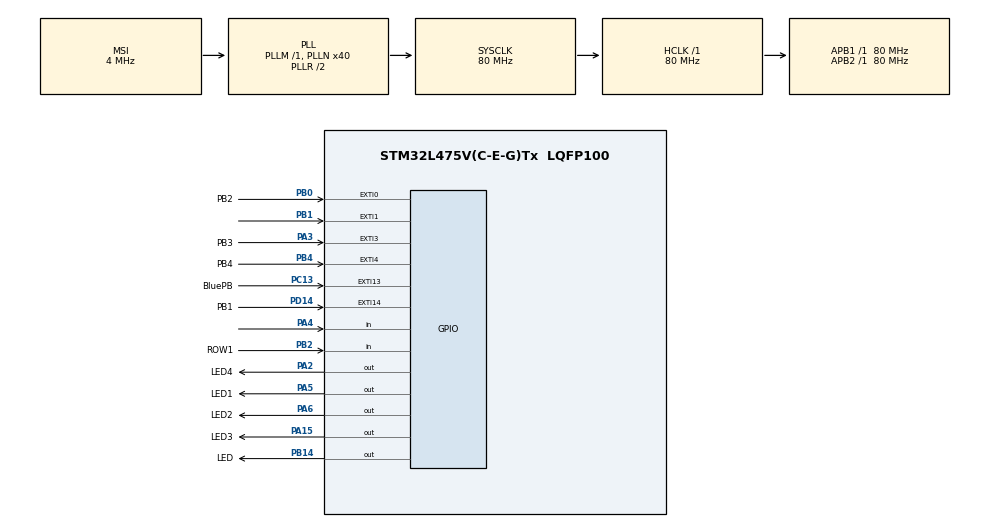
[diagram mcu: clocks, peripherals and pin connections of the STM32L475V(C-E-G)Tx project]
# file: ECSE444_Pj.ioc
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Mcu.Family=STM32L4
Mcu.Name=STM32L475V(C-E-G)Tx
Mcu.Package=LQFP100
NVIC.EXTI15_10_IRQn=true\:0\:0\:false\:false\:true\:true\:true
NVIC.PriorityGroup=NVIC_PRIORITYGROUP_4
NVIC.TIM1_TRG_COM_TIM17_IRQn=true\:15\:0\:false\:false\:true\:false\:true
NVIC.TIM2_IRQn=true\:0\:0\:false\:false\:true\:true\:true
NVIC.TimeBase=TIM1_TRG_COM_TIM17_IRQn
NVIC.TimeBaseIP=TIM17
PA13\ (JTMS-SWDIO).Signal=SYS_JTMS-SWDIO
PA15\ (JTDI).GPIO_Label=LED3
PA15\ (JTDI).Signal=GPIO_Output
PA2.GPIO_Label=LED4
PA2.Signal=GPIO_Output
PA3.GPIO_Label=PB3
PA3.Signal=GPXTI3
PA4.Signal=GPIO_Input
PA5.GPIO_Label=LED1
PA5.Signal=GPIO_Output
PA6.GPIO_Label=LED2
PA6.Signal=GPIO_Output
PB0.GPIO_Label=PB2
PB0.Signal=GPXTI0
PB1.Signal=GPXTI1
PB14.GPIO_Label=LED
PB14.Signal=GPIO_Output
PB2.GPIO_Label=ROW1
PB2.Signal=GPIO_Input
PB3\ (JTDO-TRACESWO).Signal=SYS_JTDO-SWO
PB4\ (NJTRST).GPIO_Label=PB4
PB4\ (NJTRST).Signal=GPXTI4
PC13.GPIO_Label=BluePB
PC13.Signal=GPXTI13
PD14.GPIO_Label=PB1
PD14.Signal=GPXTI14
ProjectManager.HeapSize=0x200
ProjectManager.StackSize=0x400
ProjectManager.TargetToolchain=STM32CubeIDE
RCC.ADCFreq_Value=48000000
RCC.AHBFreq_Value=80000000
RCC.APB1Freq_Value=80000000
RCC.APB1TimFreq_Value=80000000
RCC.APB2Freq_Value=80000000
RCC.APB2TimFreq_Value=80000000
RCC.CortexFreq_Value=80000000
RCC.HCLKFreq_Value=80000000
RCC.HSE_VALUE=8000000
RCC.HSI_VALUE=16000000
RCC.MSI_VALUE=4000000
RCC.PLLN=40
RCC.PLLSAI1N=24
RCC.SYSCLKFreq_VALUE=80000000
RCC.SYSCLKSource=RCC_SYSCLKSOURCE_PLLCLK
RCC.USBFreq_Value=48000000
RCC.VCOOutputFreq_Value=160000000
TIM2.Period=1814
TIM2.TIM_MasterOutputTrigger=TIM_TRGO_UPDATE
VP_SYS_VS_tim17.Mode=TIM17
VP_TIM2_VS_ClockSourceINT.Mode=Internal
board=B-L475E-IOT01A1

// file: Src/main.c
/* USER CODE BEGIN Header */
/**
  ******************************************************************************
  * @file           : main.c
  * @brief          : Main program body
  ******************************************************************************
  * @attention
  *
  * <h2><center>&copy; Copyright (c) 2021 STMicroelectronics.
  * All rights reserved.</center></h2>
  *
  * This software component is licensed by ST under BSD 3-Clause license,
  * the "License"; You may not use this file except in compliance with the
  * License. You may obtain a copy of the License at:
  *                        opensource.org/licenses/BSD-3-Clause
  *
  ******************************************************************************
  */
/* USER CODE END Header */
#include "main.h"

TIM_HandleTypeDef htim2;

void SystemClock_Config(void);
static void MX_GPIO_Init(void);
static void MX_TIM2_Init(void);

int main(void)
{

  /* MCU Configuration--------------------------------------------------------*/

  /* Reset of all peripherals, Initializes the Flash interface and the Systick. */
  HAL_Init();

  /* Configure the system clock */
  SystemClock_Config();

  /* Initialize all configured peripherals */
  MX_GPIO_Init();
  MX_TIM2_Init();
  /* USER CODE BEGIN 2 */
  HAL_TIM_Base_Start_IT(&htim2);
  /* USER CODE END 2 */

  /* Infinite loop */
  while (1)
  {

    /* USER CODE BEGIN 3 */

	  if( HAL_GPIO_ReadPin(PB1_GPIO_Port, PB1_Pin)==1){
	 		  HAL_GPIO_WritePin(LED1_GPIO_Port,LED1_Pin,GPIO_PIN_SET);
	 		  HAL_Delay(500);
	 		 HAL_GPIO_WritePin(LED1_GPIO_Port,LED1_Pin,GPIO_PIN_RESET);
	 	  }
	  else if( HAL_GPIO_ReadPin(PB2_GPIO_Port, PB2_Pin)==1){
		  HAL_GPIO_WritePin(LED2_GPIO_Port,LED2_Pin,GPIO_PIN_SET);
		 HAL_Delay(500);
		 HAL_GPIO_WritePin(LED2_GPIO_Port,LED2_Pin,GPIO_PIN_RESET);
	  }
	  else if( HAL_GPIO_ReadPin(PB3_GPIO_Port, PB3_Pin)==1){
		  HAL_GPIO_WritePin(LED3_GPIO_Port,LED3_Pin,GPIO_PIN_SET);
		 	 		  HAL_Delay(500);
		 	 		 HAL_GPIO_WritePin(LED3_GPIO_Port,LED3_Pin,GPIO_PIN_RESET);
	  }
	  else if( HAL_GPIO_ReadPin(PB4_GPIO_Port, PB4_Pin)==1){
		  HAL_GPIO_WritePin(LED4_GPIO_Port,LED4_Pin,GPIO_PIN_SET);
		 	 		  HAL_Delay(500);
		 	 		 HAL_GPIO_WritePin(LED4_GPIO_Port,LED4_Pin,GPIO_PIN_RESET);
	  }
	  else{
		  HAL_GPIO_WritePin(LED_GPIO_Port,LED_Pin,GPIO_PIN_RESET);

	  }
  }
  /* USER CODE END 3 */
}

void SystemClock_Config(void)
{
  RCC_OscInitTypeDef RCC_OscInitStruct = {0};
  RCC_ClkInitTypeDef RCC_ClkInitStruct = {0};

  /** Configure the main internal regulator output voltage
  */
  if (HAL_PWREx_ControlVoltageScaling(PWR_REGULATOR_VOLTAGE_SCALE1) != HAL_OK)
  {
    Error_Handler();
  }
  /** Initializes the RCC Oscillators according to the specified parameters
  * in the RCC_OscInitTypeDef structure.
  */
  RCC_OscInitStruct.OscillatorType = RCC_OSCILLATORTYPE_MSI;
  RCC_OscInitStruct.MSIState = RCC_MSI_ON;
  RCC_OscInitStruct.MSICalibrationValue = 0;
  RCC_OscInitStruct.MSIClockRange = RCC_MSIRANGE_6;
  RCC_OscInitStruct.PLL.PLLState = RCC_PLL_ON;
  RCC_OscInitStruct.PLL.PLLSource = RCC_PLLSOURCE_MSI;
  RCC_OscInitStruct.PLL.PLLM = 1;
  RCC_OscInitStruct.PLL.PLLN = 40;
  RCC_OscInitStruct.PLL.PLLP = RCC_PLLP_DIV7;
  RCC_OscInitStruct.PLL.PLLQ = RCC_PLLQ_DIV2;
  RCC_OscInitStruct.PLL.PLLR = RCC_PLLR_DIV2;
  if (HAL_RCC_OscConfig(&RCC_OscInitStruct) != HAL_OK)
  {
    Error_Handler();
  }
  /** Initializes the CPU, AHB and APB buses clocks
  */
  RCC_ClkInitStruct.ClockType = RCC_CLOCKTYPE_HCLK|RCC_CLOCKTYPE_SYSCLK
                              |RCC_CLOCKTYPE_PCLK1|RCC_CLOCKTYPE_PCLK2;
  RCC_ClkInitStruct.SYSCLKSource = RCC_SYSCLKSOURCE_PLLCLK;
  RCC_ClkInitStruct.AHBCLKDivider = RCC_SYSCLK_DIV1;
  RCC_ClkInitStruct.APB1CLKDivider = RCC_HCLK_DIV1;
  RCC_ClkInitStruct.APB2CLKDivider = RCC_HCLK_DIV1;

  if (HAL_RCC_ClockConfig(&RCC_ClkInitStruct, FLASH_LATENCY_4) != HAL_OK)
  {
    Error_Handler();
  }
}

static void MX_TIM2_Init(void)
{

  TIM_ClockConfigTypeDef sClockSourceConfig = {0};
  TIM_MasterConfigTypeDef sMasterConfig = {0};

  htim2.Instance = TIM2;
  htim2.Init.Prescaler = 0;
  htim2.Init.CounterMode = TIM_COUNTERMODE_UP;
  htim2.Init.Period = 1814;
  htim2.Init.ClockDivision = TIM_CLOCKDIVISION_DIV1;
  htim2.Init.AutoReloadPreload = TIM_AUTORELOAD_PRELOAD_DISABLE;
  if (HAL_TIM_Base_Init(&htim2) != HAL_OK)
  {
    Error_Handler();
  }
  sClockSourceConfig.ClockSource = TIM_CLOCKSOURCE_INTERNAL;
  if (HAL_TIM_ConfigClockSource(&htim2, &sClockSourceConfig) != HAL_OK)
  {
    Error_Handler();
  }
  sMasterConfig.MasterOutputTrigger = TIM_TRGO_UPDATE;
  sMasterConfig.MasterSlaveMode = TIM_MASTERSLAVEMODE_DISABLE;
  if (HAL_TIMEx_MasterConfigSynchronization(&htim2, &sMasterConfig) != HAL_OK)
  {
    Error_Handler();
  }

}

static void MX_GPIO_Init(void)
{
  GPIO_InitTypeDef GPIO_InitStruct = {0};

  /* GPIO Ports Clock Enable */
  __HAL_RCC_GPIOC_CLK_ENABLE();
  __HAL_RCC_GPIOA_CLK_ENABLE();
  __HAL_RCC_GPIOB_CLK_ENABLE();
  __HAL_RCC_GPIOD_CLK_ENABLE();

  /*Configure GPIO pin Output Level */
  HAL_GPIO_WritePin(GPIOA, LED4_Pin|LED1_Pin|LED2_Pin|LED3_Pin, GPIO_PIN_RESET);

  /*Configure GPIO pin Output Level */
  HAL_GPIO_WritePin(LED_GPIO_Port, LED_Pin, GPIO_PIN_RESET);

  /*Configure GPIO pin : BluePB_Pin */
  GPIO_InitStruct.Pin = BluePB_Pin;
  GPIO_InitStruct.Mode = GPIO_MODE_IT_RISING;
  GPIO_InitStruct.Pull = GPIO_NOPULL;
  HAL_GPIO_Init(BluePB_GPIO_Port, &GPIO_InitStruct);

  /*Configure GPIO pins : LED4_Pin LED1_Pin LED2_Pin LED3_Pin */
  GPIO_InitStruct.Pin = LED4_Pin|LED1_Pin|LED2_Pin|LED3_Pin;
  GPIO_InitStruct.Mode = GPIO_MODE_OUTPUT_PP;
  GPIO_InitStruct.Pull = GPIO_NOPULL;
  GPIO_InitStruct.Speed = GPIO_SPEED_FREQ_LOW;
  HAL_GPIO_Init(GPIOA, &GPIO_InitStruct);

  /*Configure GPIO pin : PB3_Pin */
  GPIO_InitStruct.Pin = PB3_Pin;
  GPIO_InitStruct.Mode = GPIO_MODE_IT_RISING;
  GPIO_InitStruct.Pull = GPIO_NOPULL;
  HAL_GPIO_Init(PB3_GPIO_Port, &GPIO_InitStruct);

  /*Configure GPIO pin : PA4 */
  GPIO_InitStruct.Pin = GPIO_PIN_4;
  GPIO_InitStruct.Mode = GPIO_MODE_INPUT;
  GPIO_InitStruct.Pull = GPIO_NOPULL;
  HAL_GPIO_Init(GPIOA, &GPIO_InitStruct);

  /*Configure GPIO pins : PB2_Pin PB1 PB4_Pin */
  GPIO_InitStruct.Pin = PB2_Pin|GPIO_PIN_1|PB4_Pin;
  GPIO_InitStruct.Mode = GPIO_MODE_IT_RISING;
  GPIO_InitStruct.Pull = GPIO_NOPULL;
  HAL_GPIO_Init(GPIOB, &GPIO_InitStruct);

  /*Configure GPIO pin : ROW1_Pin */
  GPIO_InitStruct.Pin = ROW1_Pin;
  GPIO_InitStruct.Mode = GPIO_MODE_INPUT;
  GPIO_InitStruct.Pull = GPIO_NOPULL;
  HAL_GPIO_Init(ROW1_GPIO_Port, &GPIO_InitStruct);

  /*Configure GPIO pin : LED_Pin */
  GPIO_InitStruct.Pin = LED_Pin;
  GPIO_InitStruct.Mode = GPIO_MODE_OUTPUT_PP;
  GPIO_InitStruct.Pull = GPIO_NOPULL;
  GPIO_InitStruct.Speed = GPIO_SPEED_FREQ_LOW;
  HAL_GPIO_Init(LED_GPIO_Port, &GPIO_InitStruct);

  /*Configure GPIO pin : PB1_Pin */
  GPIO_InitStruct.Pin = PB1_Pin;
  GPIO_InitStruct.Mode = GPIO_MODE_IT_RISING;
  GPIO_InitStruct.Pull = GPIO_NOPULL;
  HAL_GPIO_Init(PB1_GPIO_Port, &GPIO_InitStruct);

  /* EXTI interrupt init*/
  HAL_NVIC_SetPriority(EXTI15_10_IRQn, 0, 0);
  HAL_NVIC_EnableIRQ(EXTI15_10_IRQn);

}

/* USER CODE BEGIN 4 */
/*void HAL_GPIO_EXTI_Callback(uint16_t GPIO_Pin){
	if(GPIO_Pin==COL1_Pin){
		HAL_GPIO_WritePin(LED_GPIO_Port,LED_Pin,GPIO_PIN_RESET);
	}
}*/

/* USER CODE END 4 */

void HAL_TIM_PeriodElapsedCallback(TIM_HandleTypeDef *htim)
{
  if (htim->Instance == TIM17) {
    HAL_IncTick();
  }
}

void Error_Handler(void)
{
  __disable_irq();
  while (1)
  {
  }
}

/************************ (C) COPYRIGHT STMicroelectronics *****END OF FILE****/
